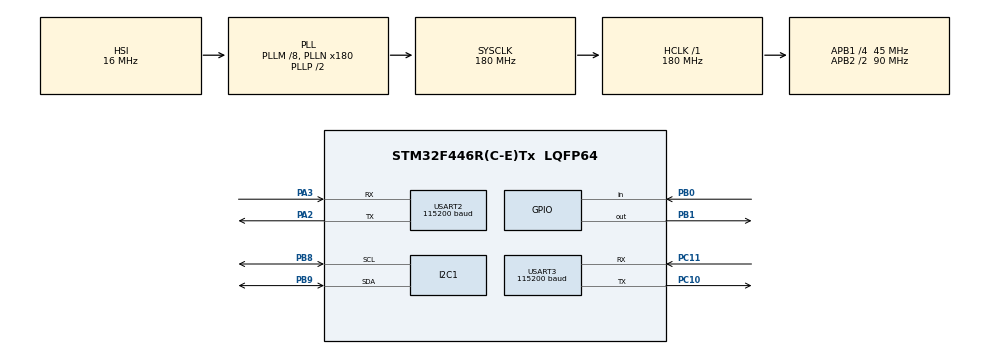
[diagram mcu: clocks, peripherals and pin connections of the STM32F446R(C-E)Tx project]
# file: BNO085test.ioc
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I2C1.I2C_Mode=I2C_Standard
Mcu.Family=STM32F4
Mcu.Name=STM32F446R(C-E)Tx
Mcu.Package=LQFP64
NVIC.PriorityGroup=NVIC_PRIORITYGROUP_4
PA2.Mode=Asynchronous
PA2.Signal=USART2_TX
PA3.Mode=Asynchronous
PA3.Signal=USART2_RX
PB0.GPIO_PuPd=GPIO_NOPULL
PB0.Signal=GPIO_Input
PB1.Signal=GPIO_Output
PB8.GPIO_Pu=GPIO_PULLUP
PB8.Mode=I2C
PB8.Signal=I2C1_SCL
PB9.GPIO_Pu=GPIO_PULLUP
PB9.Mode=I2C
PB9.Signal=I2C1_SDA
PC10.Mode=Asynchronous
PC10.Signal=USART3_TX
PC11.Mode=Asynchronous
PC11.Signal=USART3_RX
ProjectManager.HeapSize=0x200
ProjectManager.StackSize=0x400
ProjectManager.TargetToolchain=STM32CubeIDE
RCC.AHBFreq_Value=180000000
RCC.APB1CLKDivider=RCC_HCLK_DIV4
RCC.APB1Freq_Value=45000000
RCC.APB1TimFreq_Value=90000000
RCC.APB2CLKDivider=RCC_HCLK_DIV2
RCC.APB2Freq_Value=90000000
RCC.APB2TimFreq_Value=180000000
RCC.CortexFreq_Value=180000000
RCC.HCLKFreq_Value=180000000
RCC.PLLM=8
RCC.PLLN=180
RCC.SYSCLKFreq_VALUE=180000000
RCC.SYSCLKSource=RCC_SYSCLKSOURCE_PLLCLK
RCC.USBFreq_Value=180000000
RCC.VCOOutputFreq_Value=360000000
USART2.BaudRate=115200
USART2.OverSampling=UART_OVERSAMPLING_16
USART2.VirtualMode=VM_ASYNC
USART3.BaudRate=115200
USART3.VirtualMode=VM_ASYNC
board=custom

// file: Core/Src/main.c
/* USER CODE BEGIN Header */
/**
  ******************************************************************************
  * @file           : main.c
  * @brief          : Main program body
  ******************************************************************************
  */
/* USER CODE END Header */
#include "main.h"

/* USER CODE BEGIN Includes */
#include <stdio.h>
#include <string.h>
#include <math.h>          // 用來算 atan2 和 asin
/* USER CODE END Includes */

/* USER CODE BEGIN PD */
#define BNO08x_ADDR (0x4B << 1) // STM32 I2C 地址需左移 1 位
/* USER CODE END PD */

I2C_HandleTypeDef hi2c1;

UART_HandleTypeDef huart2;
UART_HandleTypeDef huart3;

/* USER CODE BEGIN PV */
float roll = 0.0f, pitch = 0.0f, yaw = 0.0f;
uint8_t isStreaming = 0;
uint32_t lastCmdTick = 0;

// BNO085 啟動指令 (要求 20Hz 回報 Rotation Vector)
uint8_t setFeatureCmd[21] = {
    21, 0, 2, 0,
    0xFD, 0x05, 0, 0, 0,
    0x50, 0xC3, 0x00, 0x00,
    0, 0, 0, 0, 0, 0, 0, 0
};
/* USER CODE END PV */

void SystemClock_Config(void);
static void MX_GPIO_Init(void);
static void MX_I2C1_Init(void);
static void MX_USART2_UART_Init(void);
static void MX_USART3_UART_Init(void);

/* USER CODE BEGIN 0 */

// 【非常重要】讓 printf 可以把文字輸出到 Terminal 的重導向函數
#ifdef __GNUC__
#define PUTCHAR_PROTOTYPE int __io_putchar(int ch)
#else
#define PUTCHAR_PROTOTYPE int fputc(int ch, FILE *f)
#endif

PUTCHAR_PROTOTYPE {
  HAL_UART_Transmit(&huart2, (uint8_t *)&ch, 1, 100);
  return ch;
}

/* USER CODE END 0 */

int main(void)
{

  /* MCU Configuration--------------------------------------------------------*/

  /* Reset of all peripherals, Initializes the Flash interface and the Systick. */
  HAL_Init();

  /* Configure the system clock */
  SystemClock_Config();

  /* Initialize all configured peripherals */
  MX_GPIO_Init();
  MX_I2C1_Init();
  MX_USART2_UART_Init();
  MX_USART3_UART_Init();

  /* USER CODE BEGIN 2 */

  // 剛開機稍微等一下，讓系統穩定
  HAL_Delay(500);
  printf("\r\n--- BNO085 I2C 掃描測試 ---\r\n");

  // 1. 【防當機神器】強制重置 BNO085
  HAL_GPIO_WritePin(GPIOB, GPIO_PIN_1, GPIO_PIN_RESET); // RST 拉低
  HAL_Delay(50);
  HAL_GPIO_WritePin(GPIOB, GPIO_PIN_1, GPIO_PIN_SET);   // RST 拉高 (放開)
  HAL_Delay(500);                                       // 等待感測器完全開機

  // 2. 掃描 BNO085 的兩個可能位址
  printf("正在掃描 I2C 總線...\r\n");

  if (HAL_I2C_IsDeviceReady(&hi2c1, (0x4A << 1), 5, 100) == HAL_OK) {
      printf("太棒了！SUCCESS: BNO085 found at 0x4A!\r\n");
  }
  else if (HAL_I2C_IsDeviceReady(&hi2c1, (0x4B << 1), 5, 100) == HAL_OK) {
      printf("太棒了！SUCCESS: BNO085 found at 0x4B!\r\n");
  }
  else {
      printf("錯誤：找不到感測器 (ERROR: No device detected)。請檢查接線。\r\n");
  }
  /* USER CODE END 2 */

  /* Infinite loop */
  /* USER CODE BEGIN WHILE */
  while (1)
  {
      // 掃描測試階段，迴圈留空即可
    /* USER CODE END WHILE */

  }
}

void SystemClock_Config(void)
{
  RCC_OscInitTypeDef RCC_OscInitStruct = {0};
  RCC_ClkInitTypeDef RCC_ClkInitStruct = {0};

  /** Configure the main internal regulator output voltage
  */
  __HAL_RCC_PWR_CLK_ENABLE();
  __HAL_PWR_VOLTAGESCALING_CONFIG(PWR_REGULATOR_VOLTAGE_SCALE1);

  /** Initializes the RCC Oscillators according to the specified parameters
  * in the RCC_OscInitTypeDef structure.
  */
  RCC_OscInitStruct.OscillatorType = RCC_OSCILLATORTYPE_HSI;
  RCC_OscInitStruct.HSIState = RCC_HSI_ON;
  RCC_OscInitStruct.HSICalibrationValue = RCC_HSICALIBRATION_DEFAULT;
  RCC_OscInitStruct.PLL.PLLState = RCC_PLL_ON;
  RCC_OscInitStruct.PLL.PLLSource = RCC_PLLSOURCE_HSI;
  RCC_OscInitStruct.PLL.PLLM = 8;
  RCC_OscInitStruct.PLL.PLLN = 180;
  RCC_OscInitStruct.PLL.PLLP = RCC_PLLP_DIV2;
  RCC_OscInitStruct.PLL.PLLQ = 2;
  RCC_OscInitStruct.PLL.PLLR = 2;
  if (HAL_RCC_OscConfig(&RCC_OscInitStruct) != HAL_OK)
  {
    Error_Handler();
  }

  /** Activate the Over-Drive mode
  */
  if (HAL_PWREx_EnableOverDrive() != HAL_OK)
  {
    Error_Handler();
  }

  /** Initializes the CPU, AHB and APB buses clocks
  */
  RCC_ClkInitStruct.ClockType = RCC_CLOCKTYPE_HCLK|RCC_CLOCKTYPE_SYSCLK
                              |RCC_CLOCKTYPE_PCLK1|RCC_CLOCKTYPE_PCLK2;
  RCC_ClkInitStruct.SYSCLKSource = RCC_SYSCLKSOURCE_PLLCLK;
  RCC_ClkInitStruct.AHBCLKDivider = RCC_SYSCLK_DIV1;
  RCC_ClkInitStruct.APB1CLKDivider = RCC_HCLK_DIV4;
  RCC_ClkInitStruct.APB2CLKDivider = RCC_HCLK_DIV2;

  if (HAL_RCC_ClockConfig(&RCC_ClkInitStruct, FLASH_LATENCY_5) != HAL_OK)
  {
    Error_Handler();
  }
}

static void MX_I2C1_Init(void)
{
  hi2c1.Instance = I2C1;
  hi2c1.Init.ClockSpeed = 100000;
  hi2c1.Init.DutyCycle = I2C_DUTYCYCLE_2;
  hi2c1.Init.OwnAddress1 = 0;
  hi2c1.Init.AddressingMode = I2C_ADDRESSINGMODE_7BIT;
  hi2c1.Init.DualAddressMode = I2C_DUALADDRESS_DISABLE;
  hi2c1.Init.OwnAddress2 = 0;
  hi2c1.Init.GeneralCallMode = I2C_GENERALCALL_DISABLE;
  hi2c1.Init.NoStretchMode = I2C_NOSTRETCH_DISABLE;
  if (HAL_I2C_Init(&hi2c1) != HAL_OK)
  {
    Error_Handler();
  }
}

static void MX_USART2_UART_Init(void)
{
  huart2.Instance = USART2;
  huart2.Init.BaudRate = 115200;
  huart2.Init.WordLength = UART_WORDLENGTH_8B;
  huart2.Init.StopBits = UART_STOPBITS_1;
  huart2.Init.Parity = UART_PARITY_NONE;
  huart2.Init.Mode = UART_MODE_TX_RX;
  huart2.Init.HwFlowCtl = UART_HWCONTROL_NONE;
  huart2.Init.OverSampling = UART_OVERSAMPLING_16;
  if (HAL_UART_Init(&huart2) != HAL_OK)
  {
    Error_Handler();
  }
}

static void MX_USART3_UART_Init(void)
{
  huart3.Instance = USART3;
  huart3.Init.BaudRate = 115200;
  huart3.Init.WordLength = UART_WORDLENGTH_8B;
  huart3.Init.StopBits = UART_STOPBITS_1;
  huart3.Init.Parity = UART_PARITY_NONE;
  huart3.Init.Mode = UART_MODE_TX_RX;
  huart3.Init.HwFlowCtl = UART_HWCONTROL_NONE;
  huart3.Init.OverSampling = UART_OVERSAMPLING_16;
  if (HAL_UART_Init(&huart3) != HAL_OK)
  {
    Error_Handler();
  }
}

static void MX_GPIO_Init(void)
{
  GPIO_InitTypeDef GPIO_InitStruct = {0};

  /* GPIO Ports Clock Enable */
  __HAL_RCC_GPIOA_CLK_ENABLE();
  __HAL_RCC_GPIOB_CLK_ENABLE();
  __HAL_RCC_GPIOC_CLK_ENABLE();

  /*Configure GPIO pin Output Level */
  HAL_GPIO_WritePin(GPIOB, GPIO_PIN_1, GPIO_PIN_RESET);

  /*Configure GPIO pin : PB0 */
  GPIO_InitStruct.Pin = GPIO_PIN_0;
  GPIO_InitStruct.Mode = GPIO_MODE_INPUT;
  GPIO_InitStruct.Pull = GPIO_NOPULL;
  HAL_GPIO_Init(GPIOB, &GPIO_InitStruct);

  /*Configure GPIO pin : PB1 */
  GPIO_InitStruct.Pin = GPIO_PIN_1;
  GPIO_InitStruct.Mode = GPIO_MODE_OUTPUT_PP;
  GPIO_InitStruct.Pull = GPIO_NOPULL;
  GPIO_InitStruct.Speed = GPIO_SPEED_FREQ_LOW;
  HAL_GPIO_Init(GPIOB, &GPIO_InitStruct);
}

void Error_Handler(void)
{
  __disable_irq();
  while (1)
  {
  }
}
